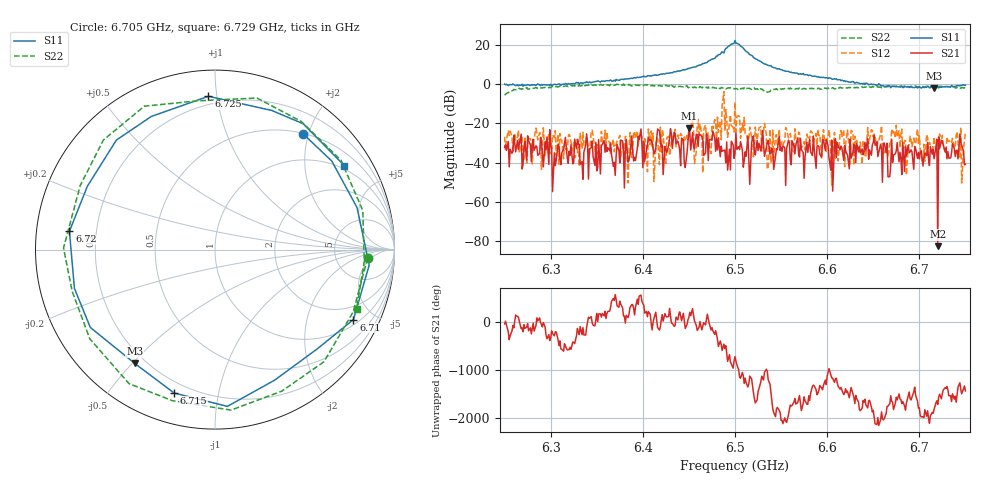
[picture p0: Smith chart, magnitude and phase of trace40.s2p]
# Hz S RI R 50
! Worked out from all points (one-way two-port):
!   401 points, 6.25 GHz to 6.75 GHz, reference 50 ohm
!   highest |S21| = -22.53 dB at 6.45 GHz (marker M1); lowest = -82.5 dB at 6.72 GHz (marker M2)
!   lowest |S11| = -2.2 dB at 6.716 GHz (marker M3), VSWR 7.93, Z = 7.97 - j25.4 ohm
!   |S11| at or under -10 dB: nowhere
!   |S22| runs from -5.7 to -0.1 dB; largest |S21 - S12| = 0.65
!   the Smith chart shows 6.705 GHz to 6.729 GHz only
!   S11 on the Smith chart (normalised r, x): 6.705 GHz: 0.51, +1.91; 6.71 GHz: 1.24, -3.82; 6.715 GHz: 0.14, -0.74; 6.72 GHz: 0.10, +0.06; 6.725 GHz: 0.15, +0.95; 6.729 GHz: 0.88, +3.15
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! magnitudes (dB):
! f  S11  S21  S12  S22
! 6.25 GHz  -0.1  -32.3  -26.9  -5.7
! 6.299 GHz  -0.9  -23.3  -35.6  -1.7
! 6.304 GHz  -0.1  -35.0  -27.3  -1.3
! 6.329 GHz  0.5  -28.2  -35.2  -1.1
! 6.334 GHz  0.5  -39.5  -33.1  -0.9
! 6.418 GHz  4.7  -23.8  -41.1  -0.8
! 6.45 GHz  7.8  -22.5  -26.0  -1.9
! 6.5 GHz  22.1  -35.6  -9.2  -2.6
! 6.53 GHz  10.7  -23.7  -26.5  -2.9
! 6.538 GHz  9.2  -35.7  -23.0  -3.8
! 6.584 GHz  3.9  -36.5  -24.8  -2.3
! 6.606 GHz  2.4  -54.6  -36.1  -1.9
! 6.651 GHz  -0.3  -26.0  -25.5  -1.5
! 6.668 GHz  -1.0  -47.1  -30.1  -1.3
! 6.705 GHz  -1.8  -37.0  -30.7  -1.4
! 6.71 GHz  -1.3  -38.5  -32.6  -0.9
! 6.715 GHz  -1.6  -33.3  -33.2  -1.6
! 6.716 GHz  -2.2  -38.1  -27.0  -1.5
! 6.72 GHz  -1.8  -82.5  -27.9  -1.0
! 6.725 GHz  -1.4  -29.1  -26.2  -1.3
! 6.729 GHz  -1.3  -32.5  -35.5  -1.3
! 6.75 GHz  -0.7  -40.9  -24.7  -2.3
